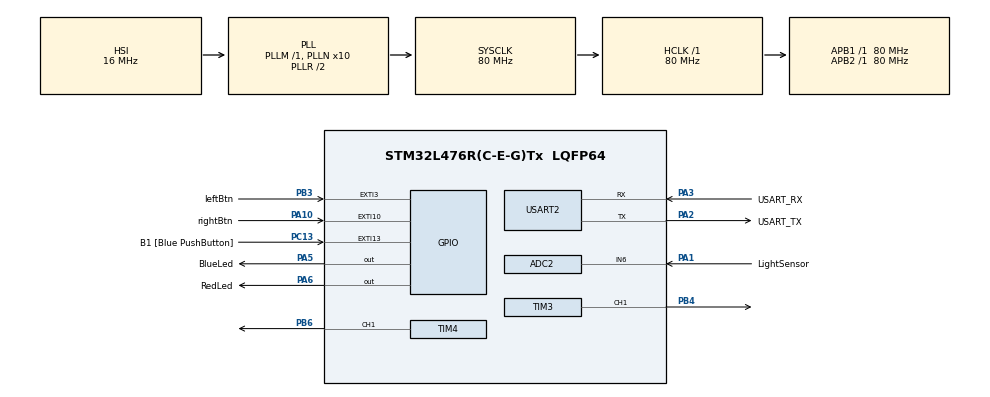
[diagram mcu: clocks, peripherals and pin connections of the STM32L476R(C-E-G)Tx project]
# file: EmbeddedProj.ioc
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ADC2.Channel-0\#ChannelRegularConversion=ADC_CHANNEL_6
ADC2.ClockPrescaler=ADC_CLOCK_ASYNC_DIV64
ADC2.ContinuousConvMode=ENABLE
ADC2.NbrOfConversionFlag=1
ADC2.OffsetNumber-0\#ChannelRegularConversion=ADC_OFFSET_NONE
ADC2.Rank-0\#ChannelRegularConversion=1
ADC2.SamplingTime-0\#ChannelRegularConversion=ADC_SAMPLETIME_2CYCLES_5
Mcu.Family=STM32L4
Mcu.Name=STM32L476R(C-E-G)Tx
Mcu.Package=LQFP64
NVIC.ADC1_2_IRQn=true\:0\:0\:false\:false\:true\:true\:true\:true
NVIC.EXTI15_10_IRQn=true\:0\:0\:false\:false\:true\:true\:true\:true
NVIC.EXTI3_IRQn=true\:0\:0\:false\:false\:true\:true\:true\:true
NVIC.PriorityGroup=NVIC_PRIORITYGROUP_4
NVIC.TIM4_IRQn=true\:0\:0\:false\:false\:true\:true\:true\:true
NVIC.TIM6_DAC_IRQn=true\:0\:0\:false\:false\:true\:true\:true\:true
NVIC.TIM7_IRQn=true\:0\:0\:false\:false\:true\:true\:true\:true
PA1.GPIO_Label=LightSensor
PA1.Signal=ADCx_IN6
PA10.GPIO_Label=rightBtn
PA10.Signal=GPXTI10
PA13\ (JTMS-SWDIO).GPIO_Label=TMS
PA13\ (JTMS-SWDIO).Mode=Serial_Wire
PA13\ (JTMS-SWDIO).Signal=SYS_JTMS-SWDIO
PA14\ (JTCK-SWCLK).GPIO_Label=TCK
PA14\ (JTCK-SWCLK).Mode=Serial_Wire
PA14\ (JTCK-SWCLK).Signal=SYS_JTCK-SWCLK
PA2.GPIO_Label=USART_TX
PA2.GPIO_Mode=GPIO_MODE_AF_PP
PA2.GPIO_PuPd=GPIO_NOPULL
PA2.GPIO_Speed=GPIO_SPEED_FREQ_VERY_HIGH
PA2.Mode=Asynchronous
PA2.Signal=USART2_TX
PA3.GPIO_Label=USART_RX
PA3.GPIO_Mode=GPIO_MODE_AF_PP
PA3.GPIO_PuPd=GPIO_NOPULL
PA3.GPIO_Speed=GPIO_SPEED_FREQ_VERY_HIGH
PA3.Mode=Asynchronous
PA3.Signal=USART2_RX
PA5.GPIO_Label=BlueLed
PA5.GPIO_ModeDefaultOutputPP=GPIO_MODE_OUTPUT_PP
PA5.GPIO_PuPd=GPIO_NOPULL
PA5.GPIO_Speed=GPIO_SPEED_FREQ_LOW
PA5.Signal=GPIO_Output
PA6.GPIO_Label=RedLed
PA6.Signal=GPIO_Output
PB3\ (JTDO-TRACESWO).GPIO_Label=leftBtn
PB3\ (JTDO-TRACESWO).GPIO_ModeDefaultEXTI=GPIO_MODE_IT_RISING_FALLING
PB3\ (JTDO-TRACESWO).Signal=GPXTI3
PB4\ (NJTRST).Signal=S_TIM3_CH1
PB6.Signal=S_TIM4_CH1
PC13.GPIO_Label=B1 [Blue PushButton]
PC13.GPIO_ModeDefaultEXTI=GPIO_MODE_IT_FALLING
PC13.GPIO_PuPd=GPIO_NOPULL
PC13.Signal=GPXTI13
PC14-OSC32_IN\ (PC14).Mode=LSE-External-Oscillator
PC14-OSC32_IN\ (PC14).Signal=RCC_OSC32_IN
PC15-OSC32_OUT\ (PC15).Mode=LSE-External-Oscillator
PC15-OSC32_OUT\ (PC15).Signal=RCC_OSC32_OUT
PH0-OSC_IN\ (PH0).Signal=RCC_OSC_IN
PH1-OSC_OUT\ (PH1).Signal=RCC_OSC_OUT
ProjectManager.HeapSize=0x200
ProjectManager.StackSize=0x400
ProjectManager.TargetToolchain=STM32CubeIDE
RCC.ADCFreq_Value=64000000
RCC.AHBFreq_Value=80000000
RCC.APB1Freq_Value=80000000
RCC.APB1TimFreq_Value=80000000
RCC.APB2Freq_Value=80000000
RCC.APB2TimFreq_Value=80000000
RCC.CortexFreq_Value=80000000
RCC.HCLKFreq_Value=80000000
RCC.HSE_VALUE=8000000
RCC.HSI_VALUE=16000000
RCC.MSI_VALUE=4000000
RCC.PLLN=10
RCC.PLLSourceVirtual=RCC_PLLSOURCE_HSI
RCC.PREFETCH_ENABLE=1
RCC.SYSCLKFreq_VALUE=80000000
RCC.SYSCLKSource=RCC_SYSCLKSOURCE_PLLCLK
RCC.USBFreq_Value=64000000
RCC.VCOOutputFreq_Value=160000000
SH.ADCx_IN6.0=ADC2_IN6,IN6-Single-Ended
SH.S_TIM3_CH1.0=TIM3_CH1,PWM Generation1 CH1
SH.S_TIM4_CH1.0=TIM4_CH1,PWM Generation1 CH1
TIM3.Channel-PWM\ Generation1\ CH1=TIM_CHANNEL_1
TIM3.Period=381
TIM3.Prescaler=799
TIM4.Channel-PWM\ Generation1\ CH1=TIM_CHANNEL_1
TIM4.Period=9
TIM4.Prescaler=999
TIM6.Period=1999
TIM6.Prescaler=7999
TIM7.Period=9
TIM7.Prescaler=7999
USART2.VirtualMode-Asynchronous=VM_ASYNC
VP_TIM6_VS_ClockSourceINT.Mode=Enable_Timer
VP_TIM7_VS_ClockSourceINT.Mode=Enable_Timer
board=NUCLEO-L476RG

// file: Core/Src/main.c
/* USER CODE BEGIN Header */
/**
  ******************************************************************************
  * @file           : main.c
  * @brief          : Main program body
  ******************************************************************************
  * @attention
  *
  * Copyright (c) 2022 STMicroelectronics.
  * All rights reserved.
  *
  * This software is licensed under terms that can be found in the LICENSE file
  * in the root directory of this software component.
  * If no LICENSE file comes with this software, it is provided AS-IS.
  *
  ******************************************************************************
  */
/* USER CODE END Header */
#include "main.h"

/* USER CODE BEGIN Includes */
#include "Buzzer.h"
#include "Led.h"
#include "Btn.h"
#include "Clock.h"
#include "Sensor.h"

/* USER CODE END Includes */

 ADC_HandleTypeDef hadc2;

TIM_HandleTypeDef htim3;
TIM_HandleTypeDef htim4;
TIM_HandleTypeDef htim6;
TIM_HandleTypeDef htim7;

UART_HandleTypeDef huart2;

/* USER CODE BEGIN PV */
LED ledR;
LED ledB;
CLOCK myQlock;
BTN_CLICK btnClick;
LIGHT_SENSOR light;

/* USER CODE END PV */

void SystemClock_Config(void);
static void MX_GPIO_Init(void);
static void MX_USART2_UART_Init(void);
static void MX_TIM3_Init(void);
static void MX_TIM6_Init(void);
static void MX_TIM7_Init(void);
static void MX_TIM4_Init(void);
static void MX_ADC2_Init(void);

/* USER CODE BEGIN 0 */
int _write(int fd, char* ptr, int len) {
    HAL_UART_Transmit(&huart2, (uint8_t *) ptr, len, HAL_MAX_DELAY);
    return len;
}

void HAL_TIM_PeriodElapsedCallback(TIM_HandleTypeDef * htim)
{
	if(htim == &htim6)
	{
		changeFreq(&htim3, &htim6);// for the buzzer
	}
	else if (htim == &htim7)
	{
		handleClicks();
		clockOnInterrupt(&myQlock);
		ledOnTimerInterrupt(&ledR);
		ledOnTimerInterrupt(&ledB);
	}
	else if(htim == &htim4)
	{
		HAL_GPIO_WritePin(GPIOA,BlueLed_Pin , 1);
	}
}

void HAL_TIM_PWM_PulseFinishedCallback(TIM_HandleTypeDef * htim)
{
	HAL_GPIO_WritePin(GPIOA,BlueLed_Pin , 0);
}

void HAL_GPIO_EXTI_Callback(uint16_t GPIO_Pin)
{
	if(GPIO_Pin == rightBtn_Pin)
	{
		onOffMusic (&htim3);//turn on/off the music
		printTime(&myQlock);// print time of running
	}

	if(GPIO_Pin == leftBtn_Pin)
	{
		//HAL_GPIO_TogglePin(GPIOA, BlueLed_Pin);
		//onClickInterrupt(GPIO_Pin);//print short click/long click
		btnClick.noiseWait = ON;

	}

}

void HAL_ADC_ConvCpltCallback(ADC_HandleTypeDef* hadc)
{
	if(hadc == &hadc2)
	{
		calcLedValue(&light);
		setBrightness(&ledB,light.ledValue);
	}
}

/* USER CODE END 0 */

int main(void)
{

  /* MCU Configuration--------------------------------------------------------*/

  /* Reset of all peripherals, Initializes the Flash interface and the Systick. */
  HAL_Init();

  /* Configure the system clock */
  SystemClock_Config();

  /* Initialize all configured peripherals */
  MX_GPIO_Init();
  MX_USART2_UART_Init();
  MX_TIM3_Init();
  MX_TIM6_Init();
  MX_TIM7_Init();
  MX_TIM4_Init();
  MX_ADC2_Init();
  /* USER CODE BEGIN 2 */
  HAL_TIM_Base_Start_IT(&htim6);
  HAL_NVIC_EnableIRQ(TIM6_IRQn);
  HAL_TIM_Base_Start_IT(&htim7);
  HAL_NVIC_EnableIRQ(TIM7_IRQn);
  ledInit(&ledR, GPIOA, RedLed_Pin);
  ledInit(&ledB, GPIOA, BlueLed_Pin);
  HAL_NVIC_EnableIRQ(TIM4_IRQn);
  HAL_NVIC_EnableIRQ(ADC1_2_IRQn);
  HAL_ADC_Start_IT(&hadc2);
  htimInit(&htim4);
  lightSensorInit(&light, &hadc2);
//  installLed(&ledR,&ledB);
  initBtnClicks(&btnClick,leftBtn_GPIO_Port,leftBtn_Pin);
  clockInit(&myQlock);
  //ledBlink(&ledB, 700);
  //ledBlink(&ledR, 300);
  /* USER CODE END 2 */

  /* Infinite loop */
  while (1)
  {

    /* USER CODE BEGIN 3 */
	  myMain(&huart2);
  }
  /* USER CODE END 3 */
}

void SystemClock_Config(void)
{
  RCC_OscInitTypeDef RCC_OscInitStruct = {0};
  RCC_ClkInitTypeDef RCC_ClkInitStruct = {0};

  /** Configure the main internal regulator output voltage
  */
  if (HAL_PWREx_ControlVoltageScaling(PWR_REGULATOR_VOLTAGE_SCALE1) != HAL_OK)
  {
    Error_Handler();
  }

  /** Initializes the RCC Oscillators according to the specified parameters
  * in the RCC_OscInitTypeDef structure.
  */
  RCC_OscInitStruct.OscillatorType = RCC_OSCILLATORTYPE_HSI;
  RCC_OscInitStruct.HSIState = RCC_HSI_ON;
  RCC_OscInitStruct.HSICalibrationValue = RCC_HSICALIBRATION_DEFAULT;
  RCC_OscInitStruct.PLL.PLLState = RCC_PLL_ON;
  RCC_OscInitStruct.PLL.PLLSource = RCC_PLLSOURCE_HSI;
  RCC_OscInitStruct.PLL.PLLM = 1;
  RCC_OscInitStruct.PLL.PLLN = 10;
  RCC_OscInitStruct.PLL.PLLP = RCC_PLLP_DIV7;
  RCC_OscInitStruct.PLL.PLLQ = RCC_PLLQ_DIV2;
  RCC_OscInitStruct.PLL.PLLR = RCC_PLLR_DIV2;
  if (HAL_RCC_OscConfig(&RCC_OscInitStruct) != HAL_OK)
  {
    Error_Handler();
  }

  /** Initializes the CPU, AHB and APB buses clocks
  */
  RCC_ClkInitStruct.ClockType = RCC_CLOCKTYPE_HCLK|RCC_CLOCKTYPE_SYSCLK
                              |RCC_CLOCKTYPE_PCLK1|RCC_CLOCKTYPE_PCLK2;
  RCC_ClkInitStruct.SYSCLKSource = RCC_SYSCLKSOURCE_PLLCLK;
  RCC_ClkInitStruct.AHBCLKDivider = RCC_SYSCLK_DIV1;
  RCC_ClkInitStruct.APB1CLKDivider = RCC_HCLK_DIV1;
  RCC_ClkInitStruct.APB2CLKDivider = RCC_HCLK_DIV1;

  if (HAL_RCC_ClockConfig(&RCC_ClkInitStruct, FLASH_LATENCY_4) != HAL_OK)
  {
    Error_Handler();
  }
}

static void MX_ADC2_Init(void)
{

  ADC_ChannelConfTypeDef sConfig = {0};

  /** Common config
  */
  hadc2.Instance = ADC2;
  hadc2.Init.ClockPrescaler = ADC_CLOCK_ASYNC_DIV64;
  hadc2.Init.Resolution = ADC_RESOLUTION_12B;
  hadc2.Init.DataAlign = ADC_DATAALIGN_RIGHT;
  hadc2.Init.ScanConvMode = ADC_SCAN_DISABLE;
  hadc2.Init.EOCSelection = ADC_EOC_SINGLE_CONV;
  hadc2.Init.LowPowerAutoWait = DISABLE;
  hadc2.Init.ContinuousConvMode = ENABLE;
  hadc2.Init.NbrOfConversion = 1;
  hadc2.Init.DiscontinuousConvMode = DISABLE;
  hadc2.Init.ExternalTrigConv = ADC_SOFTWARE_START;
  hadc2.Init.ExternalTrigConvEdge = ADC_EXTERNALTRIGCONVEDGE_NONE;
  hadc2.Init.DMAContinuousRequests = DISABLE;
  hadc2.Init.Overrun = ADC_OVR_DATA_PRESERVED;
  hadc2.Init.OversamplingMode = DISABLE;
  if (HAL_ADC_Init(&hadc2) != HAL_OK)
  {
    Error_Handler();
  }

  /** Configure Regular Channel
  */
  sConfig.Channel = ADC_CHANNEL_6;
  sConfig.Rank = ADC_REGULAR_RANK_1;
  sConfig.SamplingTime = ADC_SAMPLETIME_2CYCLES_5;
  sConfig.SingleDiff = ADC_SINGLE_ENDED;
  sConfig.OffsetNumber = ADC_OFFSET_NONE;
  sConfig.Offset = 0;
  if (HAL_ADC_ConfigChannel(&hadc2, &sConfig) != HAL_OK)
  {
    Error_Handler();
  }

}

static void MX_TIM3_Init(void)
{

  TIM_MasterConfigTypeDef sMasterConfig = {0};
  TIM_OC_InitTypeDef sConfigOC = {0};

  htim3.Instance = TIM3;
  htim3.Init.Prescaler = 799;
  htim3.Init.CounterMode = TIM_COUNTERMODE_UP;
  htim3.Init.Period = 381;
  htim3.Init.ClockDivision = TIM_CLOCKDIVISION_DIV1;
  htim3.Init.AutoReloadPreload = TIM_AUTORELOAD_PRELOAD_DISABLE;
  if (HAL_TIM_PWM_Init(&htim3) != HAL_OK)
  {
    Error_Handler();
  }
  sMasterConfig.MasterOutputTrigger = TIM_TRGO_RESET;
  sMasterConfig.MasterSlaveMode = TIM_MASTERSLAVEMODE_DISABLE;
  if (HAL_TIMEx_MasterConfigSynchronization(&htim3, &sMasterConfig) != HAL_OK)
  {
    Error_Handler();
  }
  sConfigOC.OCMode = TIM_OCMODE_PWM1;
  sConfigOC.Pulse = 0;
  sConfigOC.OCPolarity = TIM_OCPOLARITY_HIGH;
  sConfigOC.OCFastMode = TIM_OCFAST_DISABLE;
  if (HAL_TIM_PWM_ConfigChannel(&htim3, &sConfigOC, TIM_CHANNEL_1) != HAL_OK)
  {
    Error_Handler();
  }
  HAL_TIM_MspPostInit(&htim3);

}

static void MX_TIM4_Init(void)
{

  TIM_MasterConfigTypeDef sMasterConfig = {0};
  TIM_OC_InitTypeDef sConfigOC = {0};

  htim4.Instance = TIM4;
  htim4.Init.Prescaler = 999;
  htim4.Init.CounterMode = TIM_COUNTERMODE_UP;
  htim4.Init.Period = 9;
  htim4.Init.ClockDivision = TIM_CLOCKDIVISION_DIV1;
  htim4.Init.AutoReloadPreload = TIM_AUTORELOAD_PRELOAD_DISABLE;
  if (HAL_TIM_PWM_Init(&htim4) != HAL_OK)
  {
    Error_Handler();
  }
  sMasterConfig.MasterOutputTrigger = TIM_TRGO_RESET;
  sMasterConfig.MasterSlaveMode = TIM_MASTERSLAVEMODE_DISABLE;
  if (HAL_TIMEx_MasterConfigSynchronization(&htim4, &sMasterConfig) != HAL_OK)
  {
    Error_Handler();
  }
  sConfigOC.OCMode = TIM_OCMODE_PWM1;
  sConfigOC.Pulse = 0;
  sConfigOC.OCPolarity = TIM_OCPOLARITY_HIGH;
  sConfigOC.OCFastMode = TIM_OCFAST_DISABLE;
  if (HAL_TIM_PWM_ConfigChannel(&htim4, &sConfigOC, TIM_CHANNEL_1) != HAL_OK)
  {
    Error_Handler();
  }
  HAL_TIM_MspPostInit(&htim4);

}

static void MX_TIM6_Init(void)
{

  TIM_MasterConfigTypeDef sMasterConfig = {0};

  htim6.Instance = TIM6;
  htim6.Init.Prescaler = 7999;
  htim6.Init.CounterMode = TIM_COUNTERMODE_UP;
  htim6.Init.Period = 1999;
  htim6.Init.AutoReloadPreload = TIM_AUTORELOAD_PRELOAD_DISABLE;
  if (HAL_TIM_Base_Init(&htim6) != HAL_OK)
  {
    Error_Handler();
  }
  sMasterConfig.MasterOutputTrigger = TIM_TRGO_RESET;
  sMasterConfig.MasterSlaveMode = TIM_MASTERSLAVEMODE_DISABLE;
  if (HAL_TIMEx_MasterConfigSynchronization(&htim6, &sMasterConfig) != HAL_OK)
  {
    Error_Handler();
  }

}

static void MX_TIM7_Init(void)
{

  TIM_MasterConfigTypeDef sMasterConfig = {0};

  htim7.Instance = TIM7;
  htim7.Init.Prescaler = 7999;
  htim7.Init.CounterMode = TIM_COUNTERMODE_UP;
  htim7.Init.Period = 9;
  htim7.Init.AutoReloadPreload = TIM_AUTORELOAD_PRELOAD_DISABLE;
  if (HAL_TIM_Base_Init(&htim7) != HAL_OK)
  {
    Error_Handler();
  }
  sMasterConfig.MasterOutputTrigger = TIM_TRGO_RESET;
  sMasterConfig.MasterSlaveMode = TIM_MASTERSLAVEMODE_DISABLE;
  if (HAL_TIMEx_MasterConfigSynchronization(&htim7, &sMasterConfig) != HAL_OK)
  {
    Error_Handler();
  }

}

static void MX_USART2_UART_Init(void)
{

  huart2.Instance = USART2;
  huart2.Init.BaudRate = 115200;
  huart2.Init.WordLength = UART_WORDLENGTH_8B;
  huart2.Init.StopBits = UART_STOPBITS_1;
  huart2.Init.Parity = UART_PARITY_NONE;
  huart2.Init.Mode = UART_MODE_TX_RX;
  huart2.Init.HwFlowCtl = UART_HWCONTROL_NONE;
  huart2.Init.OverSampling = UART_OVERSAMPLING_16;
  huart2.Init.OneBitSampling = UART_ONE_BIT_SAMPLE_DISABLE;
  huart2.AdvancedInit.AdvFeatureInit = UART_ADVFEATURE_NO_INIT;
  if (HAL_UART_Init(&huart2) != HAL_OK)
  {
    Error_Handler();
  }

}

static void MX_GPIO_Init(void)
{
  GPIO_InitTypeDef GPIO_InitStruct = {0};

  /* GPIO Ports Clock Enable */
  __HAL_RCC_GPIOC_CLK_ENABLE();
  __HAL_RCC_GPIOH_CLK_ENABLE();
  __HAL_RCC_GPIOA_CLK_ENABLE();
  __HAL_RCC_GPIOB_CLK_ENABLE();

  /*Configure GPIO pin Output Level */
  HAL_GPIO_WritePin(GPIOA, BlueLed_Pin|RedLed_Pin, GPIO_PIN_RESET);

  /*Configure GPIO pin : B1_Pin */
  GPIO_InitStruct.Pin = B1_Pin;
  GPIO_InitStruct.Mode = GPIO_MODE_IT_FALLING;
  GPIO_InitStruct.Pull = GPIO_NOPULL;
  HAL_GPIO_Init(B1_GPIO_Port, &GPIO_InitStruct);

  /*Configure GPIO pins : BlueLed_Pin RedLed_Pin */
  GPIO_InitStruct.Pin = BlueLed_Pin|RedLed_Pin;
  GPIO_InitStruct.Mode = GPIO_MODE_OUTPUT_PP;
  GPIO_InitStruct.Pull = GPIO_NOPULL;
  GPIO_InitStruct.Speed = GPIO_SPEED_FREQ_LOW;
  HAL_GPIO_Init(GPIOA, &GPIO_InitStruct);

  /*Configure GPIO pin : rightBtn_Pin */
  GPIO_InitStruct.Pin = rightBtn_Pin;
  GPIO_InitStruct.Mode = GPIO_MODE_IT_RISING;
  GPIO_InitStruct.Pull = GPIO_NOPULL;
  HAL_GPIO_Init(rightBtn_GPIO_Port, &GPIO_InitStruct);

  /*Configure GPIO pin : leftBtn_Pin */
  GPIO_InitStruct.Pin = leftBtn_Pin;
  GPIO_InitStruct.Mode = GPIO_MODE_IT_RISING_FALLING;
  GPIO_InitStruct.Pull = GPIO_NOPULL;
  HAL_GPIO_Init(leftBtn_GPIO_Port, &GPIO_InitStruct);

  /* EXTI interrupt init*/
  HAL_NVIC_SetPriority(EXTI3_IRQn, 0, 0);
  HAL_NVIC_EnableIRQ(EXTI3_IRQn);

  HAL_NVIC_SetPriority(EXTI15_10_IRQn, 0, 0);
  HAL_NVIC_EnableIRQ(EXTI15_10_IRQn);

}

void Error_Handler(void)
{
  __disable_irq();
  while (1)
  {
  }
}
